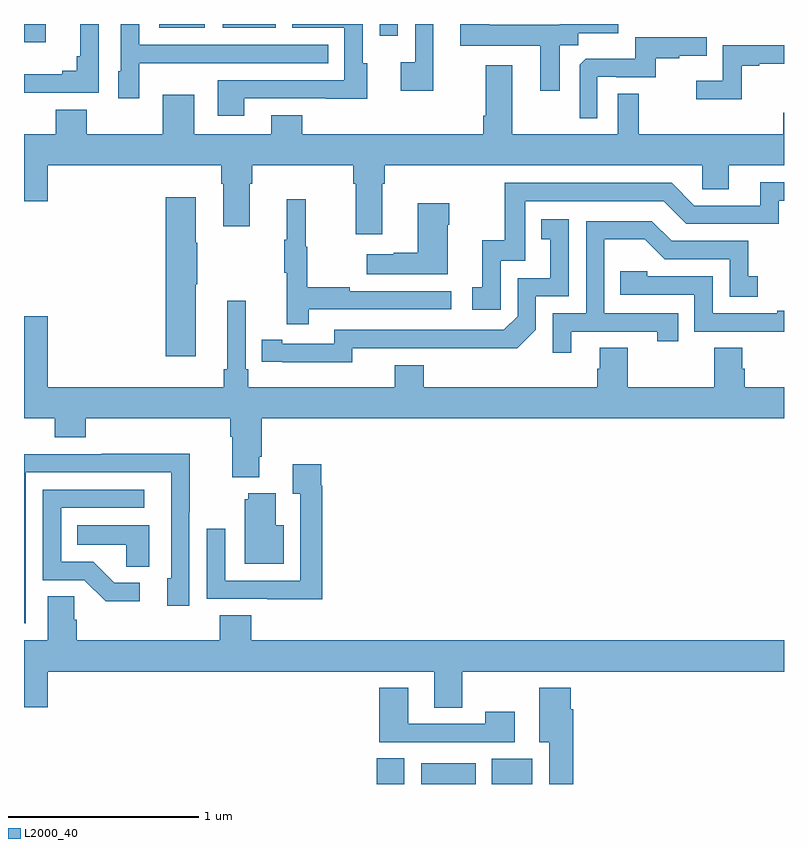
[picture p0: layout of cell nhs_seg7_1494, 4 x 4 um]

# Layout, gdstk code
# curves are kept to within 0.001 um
import gdstk
lib = gdstk.Library(unit=1e-6, precision=1e-09)
def R(c, l, rs):  # rectangles x0, y0, x1, y1
    for r in rs: c.add(gdstk.rectangle(r[:2], r[2:], *l))
def P(c, l, *ps):  # polygons
    for p in ps: c.add(gdstk.Polygon(p, *l))
L2000_40 = (2000, 40)

nhs_seg7_1494 = lib.new_cell('nhs_seg7_1494')
R(nhs_seg7_1494, L2000_40, [(214.856,1024,215.002,1024.136), (215.09,1024,215.377,1024.108), (215.462,1024,215.674,1024.132), (213,1027.904,213.115,1028), (214.872,1027.938,214.968,1028), (213.713,1027.979,213.952,1028), (214.046,1027.979,214.324,1028)])
P(nhs_seg7_1494, L2000_40, [(214.159,1027.608),(214.589,1027.608),(214.589,1027.607),(214.807,1027.607),(214.807,1027.794),(214.782,1027.794),(214.782,1028),(214.413,1028),(214.413,1027.98),(214.686,1027.98),(214.686,1027.704),(214.019,1027.704),(214.019,1027.518),(214.159,1027.518)],
  [(215.821,1027.888),(215.916,1027.888),(215.916,1027.952),(216.127,1027.952),(216.127,1028),(215.82,1028),(215.82,1027.996),(215.449,1027.996),(215.449,1028),(215.297,1028),(215.297,1027.886),(215.717,1027.886),(215.717,1027.65),(215.821,1027.65)],
  [(213.393,1028),(213.296,1028),(213.296,1027.831),(213.277,1027.831),(213.277,1027.754),(213.2,1027.754),(213.2,1027.735),(213,1027.735),(213,1027.638),(213.393,1027.638)],
  [(215.155,1028),(215.058,1028),(215.058,1027.798),(214.983,1027.798),(214.983,1027.65),(215.155,1027.65)],
  [(213.606,1027.793),(213.923,1027.793),(213.923,1027.794),(214.601,1027.794),(214.601,1027.89),(213.606,1027.89),(213.606,1028),(213.51,1028),(213.51,1027.752),(213.497,1027.752),(213.497,1027.608),(213.606,1027.608)],
  [(216.018,1027.722),(216.118,1027.722),(216.118,1027.719),(216.326,1027.719),(216.326,1027.821),(216.449,1027.821),(216.449,1027.832),(216.593,1027.832),(216.593,1027.929),(216.216,1027.929),(216.216,1027.817),(215.957,1027.817),(215.925,1027.785),(215.925,1027.505),(216.018,1027.505)],
  [(216.777,1027.779),(216.871,1027.779),(216.871,1027.791),(217,1027.791),(217,1027.887),(216.678,1027.887),(216.678,1027.702),(216.537,1027.702),(216.537,1027.603),(216.777,1027.603)],
  [(214.885,1027.16),(214.898,1027.16),(214.898,1027.256),(216.57,1027.256),(216.57,1027.129),(216.709,1027.129),(216.709,1027.256),(217,1027.256),(217,1027.533),(216.995,1027.533),(216.995,1027.42),(216.235,1027.42),(216.235,1027.634),(216.126,1027.634),(216.126,1027.42),(215.569,1027.42),(215.569,1027.783),(215.429,1027.783),(215.429,1027.516),(215.417,1027.516),(215.417,1027.42),(214.465,1027.42),(214.465,1027.519),(214.301,1027.519),(214.301,1027.42),(213.895,1027.42),(213.895,1027.627),(213.731,1027.627),(213.731,1027.42),(213.331,1027.42),(213.331,1027.549),(213.167,1027.549),(213.167,1027.42),(213,1027.42),(213,1027.068),(213.124,1027.068),(213.124,1027.256),(214.037,1027.256),(214.037,1027.16),(214.049,1027.16),(214.049,1026.936),(214.189,1026.936),(214.189,1027.16),(214.202,1027.16),(214.202,1027.256),(214.733,1027.256),(214.733,1027.16),(214.745,1027.16),(214.745,1026.894),(214.885,1026.894)],
  [(215.508,1026.753),(215.637,1026.753),(215.637,1027.068),(216.366,1027.068),(216.486,1026.948),(216.972,1026.948),(216.972,1027.071),(217,1027.071),(217,1027.167),(216.875,1027.167),(216.875,1027.044),(216.528,1027.044),(216.408,1027.164),(215.529,1027.164),(215.529,1026.862),(215.411,1026.862),(215.411,1026.615),(215.358,1026.615),(215.358,1026.495),(215.508,1026.495)],
  [(213.904,1026.631),(213.912,1026.631),(213.912,1026.848),(213.904,1026.848),(213.904,1027.087),(213.746,1027.087),(213.746,1026.252),(213.904,1026.252)],
  [(214.499,1026.498),(215.248,1026.498),(215.248,1026.594),(214.715,1026.594),(214.715,1026.614),(214.492,1026.614),(214.492,1026.828),(214.484,1026.828),(214.484,1027.078),(214.382,1027.078),(214.382,1026.865),(214.371,1026.865),(214.371,1026.691),(214.382,1026.691),(214.382,1026.42),(214.499,1026.42)],
  [(215.23,1026.944),(215.238,1026.944),(215.238,1027.057),(215.072,1027.057),(215.072,1026.797),(214.946,1026.797),(214.946,1026.787),(214.803,1026.787),(214.803,1026.683),(215.23,1026.683)],
  [(214.728,1026.294),(215.596,1026.293),(215.694,1026.39),(215.694,1026.567),(215.868,1026.567),(215.868,1026.973),(215.722,1026.973),(215.722,1026.867),(215.771,1026.867),(215.771,1026.663),(215.598,1026.663),(215.598,1026.462),(215.526,1026.39),(214.632,1026.39),(214.632,1026.318),(214.36,1026.318),(214.36,1026.338),(214.252,1026.338),(214.252,1026.222),(214.728,1026.221)],
  [(215.881,1026.381),(216.332,1026.381),(216.332,1026.33),(216.443,1026.33),(216.443,1026.477),(216.054,1026.477),(216.054,1026.866),(216.268,1026.866),(216.372,1026.762),(216.714,1026.762),(216.714,1026.564),(216.862,1026.564),(216.862,1026.673),(216.813,1026.673),(216.813,1026.858),(216.409,1026.858),(216.304,1026.963),(215.958,1026.963),(215.958,1026.477),(215.784,1026.477),(215.784,1026.27),(215.881,1026.27)],
  [(217,1026.49),(216.965,1026.49),(216.965,1026.477),(216.624,1026.477),(216.624,1026.672),(216.279,1026.672),(216.279,1026.699),(216.139,1026.699),(216.139,1026.576),(216.528,1026.576),(216.528,1026.381),(217,1026.381)],
  [(214.237,1025.722),(214.25,1025.722),(214.25,1025.924),(217,1025.924),(217,1026.088),(216.794,1026.088),(216.794,1026.186),(216.781,1026.186),(216.781,1026.296),(216.634,1026.296),(216.634,1026.088),(216.177,1026.088),(216.177,1026.296),(216.029,1026.296),(216.029,1026.186),(216.017,1026.186),(216.017,1026.088),(215.105,1026.088),(215.105,1026.205),(214.952,1026.205),(214.952,1026.088),(214.181,1026.088),(214.181,1026.184),(214.167,1026.184),(214.167,1026.544),(214.07,1026.544),(214.07,1026.184),(214.051,1026.184),(214.051,1026.088),(213.124,1026.088),(213.124,1026.463),(213,1026.463),(213,1025.924),(213.161,1025.924),(213.161,1025.825),(213.326,1025.825),(213.326,1025.924),(214.085,1025.924),(214.085,1025.828),(214.097,1025.828),(214.097,1025.615),(214.237,1025.615)],
  [(213.009,1025.64),(213.774,1025.64),(213.774,1025.082),(213.755,1025.082),(213.755,1024.938),(213.87,1024.938),(213.87,1025.431),(213.873,1025.431),(213.873,1025.738),(213.409,1025.738),(213.409,1025.736),(213,1025.736),(213,1024.845),(213.009,1024.845)],
  [(214.571,1025.57),(214.564,1025.57),(214.564,1025.683),(214.415,1025.683),(214.415,1025.527),(214.455,1025.527),(214.455,1025.07),(214.059,1025.07),(214.059,1025.344),(213.963,1025.344),(213.963,1024.974),(214.279,1024.974),(214.279,1024.973),(214.571,1024.973)],
  [(213.61,1025.058),(213.475,1025.058),(213.364,1025.169),(213.195,1025.169),(213.195,1025.454),(213.634,1025.454),(213.634,1025.55),(213.099,1025.55),(213.099,1025.073),(213.318,1025.073),(213.431,1024.961),(213.61,1024.961)],
  [(214.366,1025.362),(214.324,1025.362),(214.324,1025.53),(214.181,1025.53),(214.181,1025.499),(214.163,1025.499),(214.163,1025.159),(214.366,1025.159)],
  [(213.658,1025.362),(213.28,1025.362),(213.28,1025.258),(213.537,1025.258),(213.537,1025.143),(213.658,1025.143)],
  [(215.307,1024.592),(217,1024.592),(217,1024.756),(214.196,1024.756),(214.196,1024.889),(214.031,1024.889),(214.031,1024.756),(213.278,1024.756),(213.278,1024.865),(213.264,1024.865),(213.264,1024.988),(213.125,1024.988),(213.125,1024.756),(213,1024.756),(213,1024.404),(213.124,1024.404),(213.124,1024.592),(215.159,1024.592),(215.159,1024.402),(215.307,1024.402)],
  [(215.891,1024.394),(215.878,1024.394),(215.878,1024.507),(215.711,1024.507),(215.711,1024.22),(215.765,1024.22),(215.765,1024),(215.891,1024)],
  [(215.584,1024.381),(215.428,1024.381),(215.428,1024.317),(215.023,1024.317),(215.023,1024.507),(214.871,1024.507),(214.871,1024.221),(215.584,1024.221)])

lib.write_gds('nhs_seg7_1494.gds')
